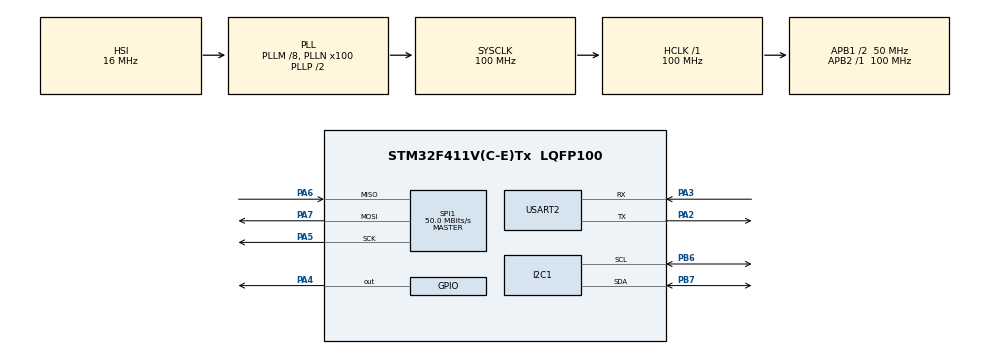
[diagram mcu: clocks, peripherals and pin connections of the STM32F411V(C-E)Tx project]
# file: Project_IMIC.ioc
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FREERTOS.Mutexes01=myMutex01,Dynamic,NULL,Available
FREERTOS.Queues01=myQueue01,16,uint16_t,0,Dynamic,NULL,NULL
FREERTOS.Tasks01=Task_UART2,24,128,StartTask_UART,Default,NULL,Dynamic,NULL,NULL;Task_SPI,8,128,StartTask_SPI,Default,NULL,Dynamic,NULL,NULL;Task_I2C,8,128,StartTask_I2C,Default,NULL,Dynamic,NULL,NULL
FREERTOS.configUSE_NEWLIB_REENTRANT=1
Mcu.Family=STM32F4
Mcu.Name=STM32F411V(C-E)Tx
Mcu.Package=LQFP100
NVIC.PriorityGroup=NVIC_PRIORITYGROUP_4
NVIC.TIM1_UP_TIM10_IRQn=true\:15\:0\:false\:false\:true\:false\:false\:true\:true
NVIC.TimeBase=TIM1_UP_TIM10_IRQn
NVIC.TimeBaseIP=TIM1
PA13.Mode=Serial_Wire
PA13.Signal=SYS_JTMS-SWDIO
PA14.Mode=Serial_Wire
PA14.Signal=SYS_JTCK-SWCLK
PA2.Mode=Asynchronous
PA2.Signal=USART2_TX
PA3.Mode=Asynchronous
PA3.Signal=USART2_RX
PA4.Signal=GPIO_Output
PA5.Mode=Full_Duplex_Master
PA5.Signal=SPI1_SCK
PA6.Mode=Full_Duplex_Master
PA6.Signal=SPI1_MISO
PA7.Mode=Full_Duplex_Master
PA7.Signal=SPI1_MOSI
PB6.Mode=I2C
PB6.Signal=I2C1_SCL
PB7.Mode=I2C
PB7.Signal=I2C1_SDA
PH0\ -\ OSC_IN.Mode=HSE-External-Oscillator
PH0\ -\ OSC_IN.Signal=RCC_OSC_IN
PH1\ -\ OSC_OUT.Mode=HSE-External-Oscillator
PH1\ -\ OSC_OUT.Signal=RCC_OSC_OUT
ProjectManager.HeapSize=0x200
ProjectManager.StackSize=0x400
ProjectManager.TargetToolchain=STM32CubeIDE
RCC.48MHZClocksFreq_Value=50000000
RCC.AHBFreq_Value=100000000
RCC.APB1CLKDivider=RCC_HCLK_DIV2
RCC.APB1Freq_Value=50000000
RCC.APB1TimFreq_Value=100000000
RCC.APB2Freq_Value=100000000
RCC.APB2TimFreq_Value=100000000
RCC.CortexFreq_Value=100000000
RCC.HCLKFreq_Value=100000000
RCC.HSE_VALUE=25000000
RCC.HSI_VALUE=16000000
RCC.LSE_VALUE=32768
RCC.PLLM=8
RCC.PLLN=100
RCC.SYSCLKFreq_VALUE=100000000
RCC.SYSCLKSource=RCC_SYSCLKSOURCE_PLLCLK
RCC.VCOOutputFreq_Value=200000000
SPI1.CalculateBaudRate=50.0 MBits/s
SPI1.Direction=SPI_DIRECTION_2LINES
SPI1.Mode=SPI_MODE_MASTER
SPI1.VirtualType=VM_MASTER
USART2.VirtualMode=VM_ASYNC
VP_FREERTOS_VS_CMSIS_V2.Mode=CMSIS_V2
VP_SYS_VS_tim1.Mode=TIM1
board=custom

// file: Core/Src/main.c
/* USER CODE BEGIN Header */
// USART2: PA2->TX, PA3->RX
// I2C1: PB7->SDA, PB6->SCL
// SPI1: PA4->CS, PA5->SCK, PA6->MISO, PA7->MOSI
/**
  ******************************************************************************
  * @file           : main.c
  * @brief          : Main program body
  ******************************************************************************
  * @attention
  *
  * Copyright (c) 2026 STMicroelectronics.
  * All rights reserved.
  *
  * This software is licensed under terms that can be found in the LICENSE file
  * in the root directory of this software component.
  * If no LICENSE file comes with this software, it is provided AS-IS.
  *
  ******************************************************************************
  */
/* USER CODE END Header */
#include "main.h"
#include "cmsis_os.h"

/* USER CODE BEGIN Includes */
#include <stdarg.h>
#include <string.h>
#include <stdio.h>
#include "LCD.h"
/* USER CODE END Includes */

I2C_HandleTypeDef hi2c1;

SPI_HandleTypeDef hspi1;

UART_HandleTypeDef huart2;

/* Definitions for Task_UART2 */
osThreadId_t Task_UART2Handle;
const osThreadAttr_t Task_UART2_attributes = {
  .name = "Task_UART2",
  .stack_size = 128 * 4,
  .priority = (osPriority_t) osPriorityNormal,
};
/* Definitions for Task_SPI */
osThreadId_t Task_SPIHandle;
const osThreadAttr_t Task_SPI_attributes = {
  .name = "Task_SPI",
  .stack_size = 128 * 4,
  .priority = (osPriority_t) osPriorityLow,
};
/* Definitions for Task_I2C */
osThreadId_t Task_I2CHandle;
const osThreadAttr_t Task_I2C_attributes = {
  .name = "Task_I2C",
  .stack_size = 128 * 4,
  .priority = (osPriority_t) osPriorityLow,
};
/* Definitions for myQueue01 */
osMessageQueueId_t myQueue01Handle;
const osMessageQueueAttr_t myQueue01_attributes = {
  .name = "myQueue01"
};
/* Definitions for myMutex01 */
osMutexId_t myMutex01Handle;
const osMutexAttr_t myMutex01_attributes = {
  .name = "myMutex01"
};

void SystemClock_Config(void);
static void MX_GPIO_Init(void);
static void MX_I2C1_Init(void);
static void MX_SPI1_Init(void);
static void MX_USART2_UART_Init(void);
void StartTask_UART(void *argument);
void StartTask_SPI(void *argument);
void StartTask_I2C(void *argument);

/* USER CODE BEGIN PFP */
static char buff[128];
void mPrint(const char *str, ...)
{
	osMutexAcquire(myMutex01Handle, osWaitForever);
	va_list ptr;
	va_start(ptr, str);
	vsnprintf(buff, sizeof(buff), str, ptr);
	va_end(ptr);
	HAL_UART_Transmit(&huart2, (uint8_t*) buff, strlen(buff), 100);
	memset(buff, 0, sizeof(buff));
	osMutexRelease(myMutex01Handle);
}
/* USER CODE END PFP */

int main(void)
{

  /* MCU Configuration--------------------------------------------------------*/

  /* Reset of all peripherals, Initializes the Flash interface and the Systick. */
  HAL_Init();

  /* Configure the system clock */
  SystemClock_Config();

  /* Initialize all configured peripherals */
  MX_GPIO_Init();
  MX_I2C1_Init();
  MX_SPI1_Init();
  MX_USART2_UART_Init();

  /* Init scheduler */
  osKernelInitialize();
  /* Create the mutex(es) */
  /* creation of myMutex01 */
  myMutex01Handle = osMutexNew(&myMutex01_attributes);

  /* Create the queue(s) */
  /* creation of myQueue01 */
  myQueue01Handle = osMessageQueueNew (16, sizeof(uint16_t), &myQueue01_attributes);

  /* Create the thread(s) */
  /* creation of Task_UART2 */
  Task_UART2Handle = osThreadNew(StartTask_UART, NULL, &Task_UART2_attributes);

  /* creation of Task_SPI */
  Task_SPIHandle = osThreadNew(StartTask_SPI, NULL, &Task_SPI_attributes);

  /* creation of Task_I2C */
  Task_I2CHandle = osThreadNew(StartTask_I2C, NULL, &Task_I2C_attributes);

  /* Start scheduler */
  osKernelStart();

  /* We should never get here as control is now taken by the scheduler */

  /* Infinite loop */
  while (1)
  {

  }
}

void SystemClock_Config(void)
{
  RCC_OscInitTypeDef RCC_OscInitStruct = {0};
  RCC_ClkInitTypeDef RCC_ClkInitStruct = {0};

  /** Configure the main internal regulator output voltage
  */
  __HAL_RCC_PWR_CLK_ENABLE();
  __HAL_PWR_VOLTAGESCALING_CONFIG(PWR_REGULATOR_VOLTAGE_SCALE1);

  /** Initializes the RCC Oscillators according to the specified parameters
  * in the RCC_OscInitTypeDef structure.
  */
  RCC_OscInitStruct.OscillatorType = RCC_OSCILLATORTYPE_HSI;
  RCC_OscInitStruct.HSIState = RCC_HSI_ON;
  RCC_OscInitStruct.HSICalibrationValue = RCC_HSICALIBRATION_DEFAULT;
  RCC_OscInitStruct.PLL.PLLState = RCC_PLL_ON;
  RCC_OscInitStruct.PLL.PLLSource = RCC_PLLSOURCE_HSI;
  RCC_OscInitStruct.PLL.PLLM = 8;
  RCC_OscInitStruct.PLL.PLLN = 100;
  RCC_OscInitStruct.PLL.PLLP = RCC_PLLP_DIV2;
  RCC_OscInitStruct.PLL.PLLQ = 4;
  if (HAL_RCC_OscConfig(&RCC_OscInitStruct) != HAL_OK)
  {
    Error_Handler();
  }

  /** Initializes the CPU, AHB and APB buses clocks
  */
  RCC_ClkInitStruct.ClockType = RCC_CLOCKTYPE_HCLK|RCC_CLOCKTYPE_SYSCLK
                              |RCC_CLOCKTYPE_PCLK1|RCC_CLOCKTYPE_PCLK2;
  RCC_ClkInitStruct.SYSCLKSource = RCC_SYSCLKSOURCE_PLLCLK;
  RCC_ClkInitStruct.AHBCLKDivider = RCC_SYSCLK_DIV1;
  RCC_ClkInitStruct.APB1CLKDivider = RCC_HCLK_DIV2;
  RCC_ClkInitStruct.APB2CLKDivider = RCC_HCLK_DIV1;

  if (HAL_RCC_ClockConfig(&RCC_ClkInitStruct, FLASH_LATENCY_3) != HAL_OK)
  {
    Error_Handler();
  }
}

static void MX_I2C1_Init(void)
{

  hi2c1.Instance = I2C1;
  hi2c1.Init.ClockSpeed = 100000;
  hi2c1.Init.DutyCycle = I2C_DUTYCYCLE_2;
  hi2c1.Init.OwnAddress1 = 0;
  hi2c1.Init.AddressingMode = I2C_ADDRESSINGMODE_7BIT;
  hi2c1.Init.DualAddressMode = I2C_DUALADDRESS_DISABLE;
  hi2c1.Init.OwnAddress2 = 0;
  hi2c1.Init.GeneralCallMode = I2C_GENERALCALL_DISABLE;
  hi2c1.Init.NoStretchMode = I2C_NOSTRETCH_DISABLE;
  if (HAL_I2C_Init(&hi2c1) != HAL_OK)
  {
    Error_Handler();
  }

}

static void MX_SPI1_Init(void)
{

  /* SPI1 parameter configuration*/
  hspi1.Instance = SPI1;
  hspi1.Init.Mode = SPI_MODE_MASTER;
  hspi1.Init.Direction = SPI_DIRECTION_2LINES;
  hspi1.Init.DataSize = SPI_DATASIZE_8BIT;
  hspi1.Init.CLKPolarity = SPI_POLARITY_LOW;
  hspi1.Init.CLKPhase = SPI_PHASE_1EDGE;
  hspi1.Init.NSS = SPI_NSS_SOFT;
  hspi1.Init.BaudRatePrescaler = SPI_BAUDRATEPRESCALER_2;
  hspi1.Init.FirstBit = SPI_FIRSTBIT_MSB;
  hspi1.Init.TIMode = SPI_TIMODE_DISABLE;
  hspi1.Init.CRCCalculation = SPI_CRCCALCULATION_DISABLE;
  hspi1.Init.CRCPolynomial = 10;
  if (HAL_SPI_Init(&hspi1) != HAL_OK)
  {
    Error_Handler();
  }

}

static void MX_USART2_UART_Init(void)
{

  huart2.Instance = USART2;
  huart2.Init.BaudRate = 115200;
  huart2.Init.WordLength = UART_WORDLENGTH_8B;
  huart2.Init.StopBits = UART_STOPBITS_1;
  huart2.Init.Parity = UART_PARITY_NONE;
  huart2.Init.Mode = UART_MODE_TX_RX;
  huart2.Init.HwFlowCtl = UART_HWCONTROL_NONE;
  huart2.Init.OverSampling = UART_OVERSAMPLING_16;
  if (HAL_UART_Init(&huart2) != HAL_OK)
  {
    Error_Handler();
  }

}

static void MX_GPIO_Init(void)
{
  GPIO_InitTypeDef GPIO_InitStruct = {0};

  /* GPIO Ports Clock Enable */
  __HAL_RCC_GPIOH_CLK_ENABLE();
  __HAL_RCC_GPIOA_CLK_ENABLE();
  __HAL_RCC_GPIOB_CLK_ENABLE();

  /*Configure GPIO pin Output Level */
  HAL_GPIO_WritePin(GPIOA, GPIO_PIN_4, GPIO_PIN_RESET);

  /*Configure GPIO pin : PA4 */
  GPIO_InitStruct.Pin = GPIO_PIN_4;
  GPIO_InitStruct.Mode = GPIO_MODE_OUTPUT_PP;
  GPIO_InitStruct.Pull = GPIO_NOPULL;
  GPIO_InitStruct.Speed = GPIO_SPEED_FREQ_LOW;
  HAL_GPIO_Init(GPIOA, &GPIO_InitStruct);

}

void StartTask_UART(void *argument)
{
  /* USER CODE BEGIN 5 */
  /* Infinite loop */
  for(;;)
  {
	mPrint("TASK UART: RUNNING\r\n");
    osDelay(1000);
  }
  /* USER CODE END 5 */
}

void StartTask_SPI(void *argument)
{
  /* USER CODE BEGIN StartTask_SPI */
  /* Infinite loop */
  for(;;)
  {
	mPrint("TASK Sensor SPI: RUNNING\r\n");
    osDelay(1000);
  }
  /* USER CODE END StartTask_SPI */
}

void StartTask_I2C(void *argument)
{
  /* USER CODE BEGIN StartTask_I2C */
  /* Infinite loop */

  for(;;)
  {
	mPrint("TASK LCD I2C: RUNNING\r\n");
    osDelay(1000);
  }
  /* USER CODE END StartTask_I2C */
}

void HAL_TIM_PeriodElapsedCallback(TIM_HandleTypeDef *htim)
{
  if (htim->Instance == TIM1)
  {
    HAL_IncTick();
  }
}

void Error_Handler(void)
{
  __disable_irq();
  while (1)
  {
  }
}
